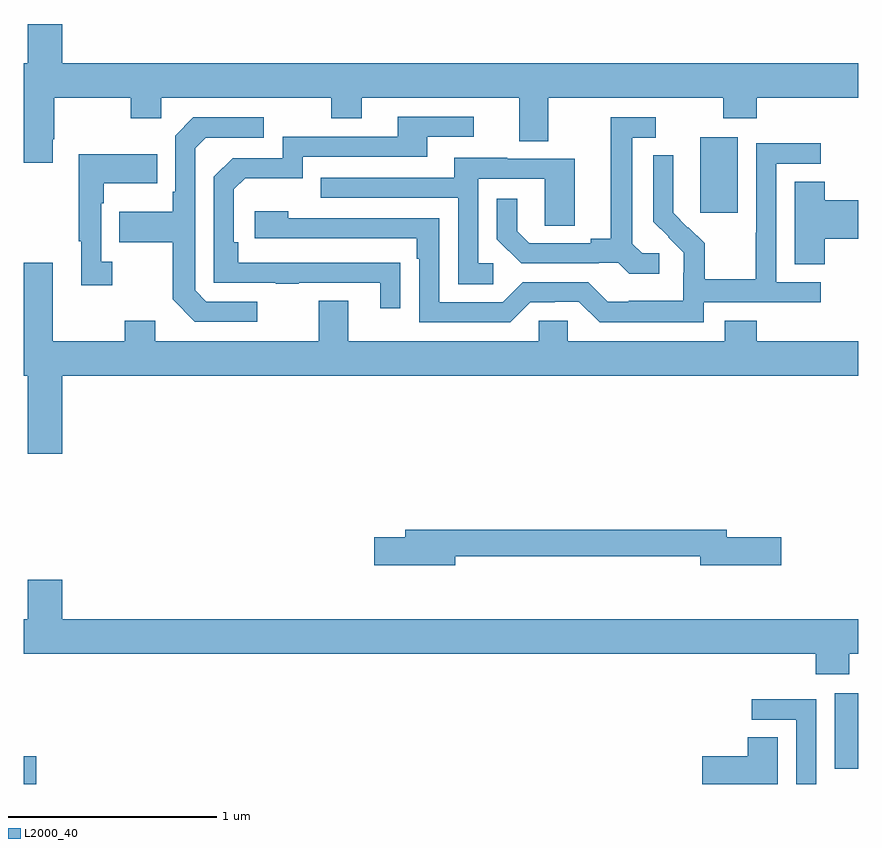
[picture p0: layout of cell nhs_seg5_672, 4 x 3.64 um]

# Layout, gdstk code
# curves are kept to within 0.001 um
import gdstk
lib = gdstk.Library(unit=1e-6, precision=1e-09)
def R(c, l, rs):  # rectangles x0, y0, x1, y1
    for r in rs: c.add(gdstk.rectangle(r[:2], r[2:], *l))
def P(c, l, *ps):  # polygons
    for p in ps: c.add(gdstk.Polygon(p, *l))
L2000_40 = (2000, 40)

nhs_seg5_672 = lib.new_cell('nhs_seg5_672')
R(nhs_seg5_672, L2000_40, [(153,858.799,153.061,858.932), (156.887,858.873,157,859.234), (156.242,861.537,156.421,861.898)])
P(nhs_seg5_672, L2000_40, [(153.139,861.889),(153.147,861.889),(153.147,862.088),(153.514,862.088),(153.514,861.989),(153.66,861.989),(153.66,862.088),(154.474,862.088),(154.474,861.989),(154.621,861.989),(154.621,862.088),(155.375,862.088),(155.375,861.88),(155.515,861.88),(155.515,862.088),(156.352,862.088),(156.352,861.989),(156.512,861.989),(156.512,862.088),(157,862.088),(157,862.252),(153.184,862.252),(153.184,862.441),(153.02,862.441),(153.02,862.252),(153,862.252),(153,861.777),(153.139,861.777)],
  [(154.805,861.296),(154.028,861.297),(154.028,861.394),(154.008,861.394),(154.008,861.648),(154.061,861.701),(154.338,861.701),(154.338,861.804),(154.933,861.804),(154.933,861.9),(155.158,861.9),(155.158,861.996),(154.793,861.996),(154.793,861.9),(154.242,861.9),(154.242,861.798),(154.002,861.798),(153.912,861.708),(153.912,861.201),(154.207,861.201),(154.207,861.196),(154.319,861.196),(154.319,861.201),(154.709,861.201),(154.709,861.078),(154.805,861.078)],
  [(156.046,861.342),(155.964,861.342),(155.917,861.389),(155.917,861.897),(156.028,861.897),(156.028,861.993),(155.813,861.993),(155.813,861.413),(155.717,861.413),(155.717,861.39),(155.422,861.39),(155.365,861.447),(155.365,861.604),(155.268,861.604),(155.268,861.41),(155.384,861.294),(155.756,861.294),(155.756,861.297),(155.85,861.297),(155.902,861.245),(156.046,861.245)],
  [(154.12,861.111),(153.876,861.111),(153.822,861.165),(153.822,861.846),(153.873,861.897),(154.15,861.897),(154.15,861.993),(153.813,861.993),(153.726,861.906),(153.726,861.637),(153.714,861.637),(153.714,861.541),(153.457,861.541),(153.457,861.394),(153.714,861.394),(153.714,861.121),(153.819,861.015),(154.12,861.015)],
  [(156.258,861.108),(156.82,861.108),(156.82,861.204),(156.606,861.204),(156.606,861.771),(156.82,861.771),(156.82,861.87),(156.51,861.87),(156.51,861.44),(156.508,861.44),(156.508,861.217),(156.263,861.217),(156.263,861.391),(156.186,861.468),(156.183,861.465),(156.113,861.536),(156.114,861.812),(156.018,861.812),(156.018,861.494),(156.164,861.346),(156.164,861.249),(156.162,861.249),(156.162,861.115),(155.899,861.115),(155.899,861.111),(155.799,861.111),(155.706,861.204),(155.391,861.204),(155.295,861.108),(154.992,861.108),(154.992,861.51),(154.268,861.51),(154.268,861.544),(154.107,861.544),(154.107,861.414),(154.883,861.414),(154.883,861.317),(154.896,861.317),(154.896,861.012),(155.331,861.012),(155.427,861.108),(155.546,861.108),(155.546,861.111),(155.661,861.111),(155.761,861.011),(156.258,861.011)],
  [(153.424,861.302),(153.372,861.302),(153.372,861.581),(153.385,861.581),(153.385,861.677),(153.641,861.677),(153.641,861.817),(153.264,861.817),(153.264,861.401),(153.275,861.401),(153.275,861.189),(153.424,861.189)],
  [(155.251,861.294),(155.178,861.294),(155.178,861.699),(155.496,861.699),(155.496,861.475),(155.641,861.475),(155.641,861.795),(155.317,861.795),(155.317,861.799),(155.063,861.799),(155.063,861.705),(154.423,861.705),(154.423,861.609),(155.082,861.609),(155.082,861.193),(155.251,861.193)],
  [(156.839,861.413),(157,861.413),(157,861.596),(156.839,861.596),(156.839,861.686),(156.695,861.686),(156.695,861.289),(156.839,861.289)],
  [(153.184,860.756),(157,860.756),(157,860.92),(156.512,860.92),(156.512,861.019),(156.359,861.019),(156.359,860.92),(155.607,860.92),(155.607,861.018),(155.469,861.018),(155.469,860.92),(154.555,860.92),(154.555,861.115),(154.415,861.115),(154.415,860.92),(153.631,860.92),(153.631,861.019),(153.484,861.019),(153.484,860.92),(153.139,860.92),(153.139,861.298),(153,861.298),(153,860.756),(153.02,860.756),(153.02,860.382),(153.184,860.382)],
  [(155.068,859.89),(156.242,859.89),(156.242,859.847),(156.631,859.847),(156.631,859.982),(156.37,859.982),(156.37,860.018),(154.829,860.018),(154.829,859.982),(154.68,859.982),(154.68,859.847),(155.068,859.847)],
  [(156.957,859.424),(157,859.424),(157,859.588),(153.184,859.588),(153.184,859.777),(153.02,859.777),(153.02,859.588),(153,859.588),(153,859.424),(156.797,859.424),(156.797,859.325),(156.957,859.325)],
  [(156.798,859.206),(156.489,859.206),(156.489,859.107),(156.702,859.107),(156.702,858.799),(156.798,858.799)],
  [(156.613,859.022),(156.47,859.022),(156.47,858.932),(156.252,858.932),(156.252,858.799),(156.613,858.799)])

lib.write_gds('nhs_seg5_672.gds')
